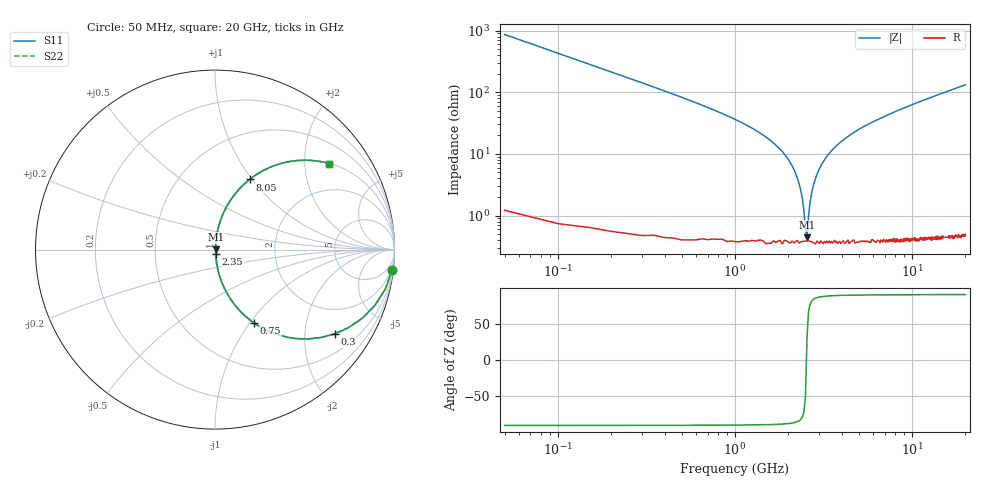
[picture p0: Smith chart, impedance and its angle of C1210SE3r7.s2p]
! AVX Thin Film Operation		Date: April 2012
! Description: Accu-P® Series, Thin Film, SMD, RF Capacitor
! Part Number: 12101J3R7ABTTR
!	100	MHz	-	20.05	GHz
!	Serial	Measurements
#	MHZ	S	MA	R	50
!	S11	S21	S12	S22
!	dB	Phase	dB	Phase	dB	Phase	dB	Phase
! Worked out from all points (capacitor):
!   400 points, 50 MHz to 20 GHz, reference 50 ohm
!   read as one part in series: C = 3.7 pF near 150 MHz
!   lowest |Z| = 440 mohm at 2.55 GHz (marker M1)
!   series resonance near 2.534 GHz, so ESL is about 1.1 nH
!   S11 on the Smith chart (normalised r, x): 50 MHz: 1, -17; 300 MHz: 1.01, -2.83; 750 MHz: 1.01, -1.05; 2.35 GHz: 1.01, -0.05; 8.05 GHz: 1.01, +0.97; 20 GHz: 1.01, +2.64
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50  0.993 -6.6  0.115 83.3  0.115 83.3  0.993 -6.6
100  0.974 -13.1  0.227 76.8  0.227 76.8  0.974 -13.1
150  0.943 -19.3  0.33 70.6  0.33 70.6  0.943 -19.3
300  0.815 -35.2  0.577 54.6  0.577 54.6  0.815 -35.2
750  0.462 -62.0  0.883 27.5  0.883 27.5  0.462 -62.0
1850  0.108 -81.9  0.991 6.2  0.991 6.2  0.108 -81.9
2150  0.056 -83.0  0.995 3.2  0.995 3.2  0.056 -83.0
2350  0.026 -80.3  0.996 1.5  0.996 1.5  0.026 -80.3
2400  0.019 -77.6  0.996 1.1  0.996 1.1  0.019 -77.6
2500  0.005886 -50.9  0.996 0.3  0.996 0.3  0.005886 -50.9
2550  0.004256 29.7  0.996 -0.1  0.996 -0.1  0.004256 29.7
2650  0.016 75.4  0.996 -0.9  0.996 -0.9  0.016 75.4
2800  0.034 81.8  0.996 -1.9  0.996 -1.9  0.034 81.8
3100  0.069 83.0  0.994 -3.9  0.994 -3.9  0.069 83.0
3400  0.1 82.1  0.991 -5.8  0.991 -5.8  0.1 82.1
4600  0.209 76.9  0.974 -12.1  0.974 -12.1  0.209 76.9
6700  0.358 68.5  0.93 -21.0  0.93 -21.0  0.358 68.5
8050  0.436 63.7  0.897 -25.8  0.897 -25.8  0.436 63.7
10050  0.532 57.5  0.843 -32.1  0.843 -32.1  0.532 57.5
13350  0.651 49.1  0.756 -40.6  0.756 -40.6  0.651 49.1
16700  0.736 42.4  0.674 -47.4  0.674 -47.4  0.736 42.4
20000  0.795 37.1  0.603 -52.7  0.603 -52.7  0.795 37.1
